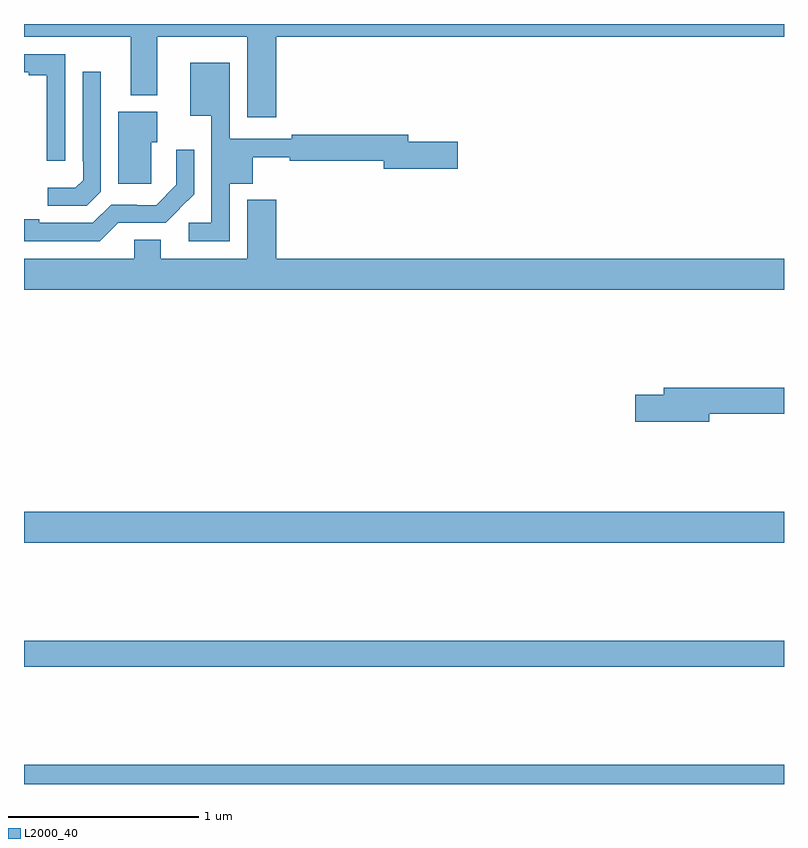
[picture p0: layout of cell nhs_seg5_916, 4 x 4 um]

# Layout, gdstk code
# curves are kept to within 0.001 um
import gdstk
lib = gdstk.Library(unit=1e-6, precision=1e-09)
def R(c, l, rs):  # rectangles x0, y0, x1, y1
    for r in rs: c.add(gdstk.rectangle(r[:2], r[2:], *l))
def P(c, l, *ps):  # polygons
    for p in ps: c.add(gdstk.Polygon(p, *l))
L2000_40 = (2000, 40)

nhs_seg5_916 = lib.new_cell('nhs_seg5_916')
R(nhs_seg5_916, L2000_40, [(169,880.799,173,880.9), (169,881.416,173,881.552), (169,882.068,173,882.232)])
P(nhs_seg5_916, L2000_40, [(170.327,884.732),(173,884.732),(173,884.799),(169,884.799),(169,884.732),(169.562,884.732),(169.562,884.423),(169.702,884.423),(169.702,884.732),(170.174,884.732),(170.174,884.307),(170.327,884.307)],
  [(169.218,884.64),(169,884.64),(169,884.544),(169.025,884.544),(169.025,884.529),(169.121,884.529),(169.121,884.079),(169.218,884.079)],
  [(170.082,883.958),(170.203,883.958),(170.203,884.098),(170.399,884.098),(170.399,884.08),(170.894,884.08),(170.894,884.038),(171.283,884.038),(171.283,884.18),(171.022,884.18),(171.022,884.216),(170.41,884.216),(170.41,884.196),(170.082,884.196),(170.082,884.596),(169.874,884.596),(169.874,884.315),(169.986,884.315),(169.986,883.752),(169.866,883.752),(169.866,883.656),(170.082,883.656)],
  [(169.404,883.917),(169.404,884.548),(169.308,884.548),(169.308,884.077),(169.311,884.077),(169.311,883.977),(169.271,883.937),(169.125,883.937),(169.125,883.842),(169.329,883.842)],
  [(169.669,884.177),(169.702,884.177),(169.702,884.338),(169.496,884.338),(169.496,883.959),(169.669,883.959)],
  [(169.495,883.752),(169.746,883.752),(169.896,883.904),(169.896,884.137),(169.802,884.137),(169.802,883.952),(169.696,883.846),(169.594,883.846),(169.594,883.848),(169.458,883.848),(169.362,883.752),(169.081,883.752),(169.081,883.772),(169,883.772),(169,883.656),(169.399,883.656)],
  [(173,883.564),(170.327,883.564),(170.327,883.873),(170.174,883.873),(170.174,883.564),(169.72,883.564),(169.72,883.663),(169.58,883.663),(169.58,883.564),(169,883.564),(169,883.4),(173,883.4)],
  [(172.606,882.748),(173,882.748),(173,882.884),(172.367,882.884),(172.367,882.848),(172.218,882.848),(172.218,882.706),(172.606,882.706)])

lib.write_gds('nhs_seg5_916.gds')
